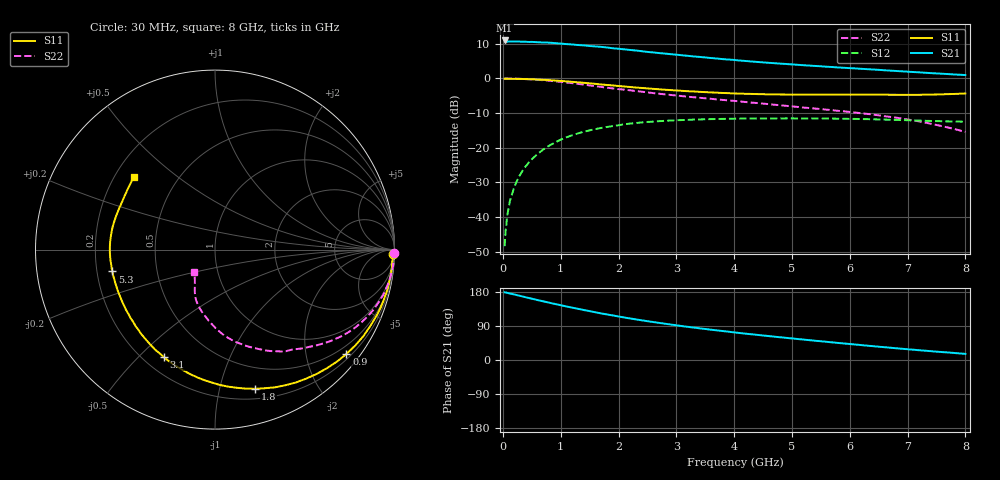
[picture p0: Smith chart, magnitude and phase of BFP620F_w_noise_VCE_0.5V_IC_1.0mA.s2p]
! Infineon Technologies  Discrete & RF Semiconductors
! BFP620F
! VCE =  0.5 V,  IC =  1.0 mA
! Common Emitter S-Parameters:  Dec 2014
# GHz  S  MA  R  50
!  f  S11  S21  S12  S22
! GHz  MAG  ANG  MAG  ANG  MAG  ANG  MAG  ANG
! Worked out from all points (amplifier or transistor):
!   95 points, 30 MHz to 8 GHz, reference 50 ohm
!   highest |S21| = 11.0 dB at 30 MHz (marker M1)
!   |S21| within 3 dB of that: start of sweep to 2.349 GHz
!   unconditionally stable (mu >= 1): 6.944 GHz to end of sweep
!   at 300 MHz: K = 0.01, MSG = 19.2 dB, |S12| = -27.7 dB
!   at 3.3 GHz: K = 0.48, MSG = 9.1 dB, |S12| = -11.9 dB
!   at 8 GHz: K = 1.18, MAG = 4.2 dB, |S12| = -12.5 dB
!   lowest NFmin = 0.63 dB at 450 MHz
!   S11 on the Smith chart (normalised r, x): 30 MHz: 32, -75; 900 MHz: 0.31, -2.83; 1.8 GHz: 0.29, -1.29; 3.1 GHz: 0.28, -0.60; 5.3 GHz: 0.26, -0.10; 8 GHz: 0.28, +0.36
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0.03  0.9905 -1.3  3.54 178.7  0.0038 93.7  0.9992 -1.0
0.04  0.9914 -1.7  3.365 178.3  0.0052 85.0  0.9992 -1.3
0.06  0.9892 -2.6  3.409 177.9  0.0075 82.5  1 -1.8
0.07  0.9908 -3.1  3.397 177.4  0.01 88.7  0.9982 -2.1
0.12  0.9896 -5.2  3.435 175.6  0.0169 83.8  0.9977 -3.7
0.25  0.9868 -10.8  3.424 170.9  0.0341 83.9  0.992 -7.6
0.35  0.9829 -15.1  3.399 167.3  0.048 81.1  0.9849 -10.6
0.5  0.9743 -21.5  3.376 161.8  0.0682 76.6  0.9708 -15.0
0.9  0.9349 -38.5  3.242 147.9  0.1191 65.1  0.912 -26.3
1.2  0.8949 -50.7  3.1 138.1  0.1517 56.9  0.8566 -34.1
1.4  0.8666 -58.7  3.005 131.9  0.1704 51.7  0.8166 -38.9
1.8  0.8068 -74.0  2.801 120.2  0.1997 42.5  0.7374 -48.2
2.2  0.7539 -88.1  2.585 109.6  0.2236 34.4  0.6752 -57.2
2.7  0.6987 -103.8  2.33 98.0  0.2419 25.8  0.6028 -66.6
3.1  0.6635 -115.4  2.163 89.5  0.2513 20.1  0.5567 -73.0
3.5  0.6355 -126.1  2.014 81.8  0.258 14.9  0.5182 -78.7
4.1  0.6055 -140.9  1.815 71.2  0.2637 8.3  0.4667 -85.7
4.7  0.5891 -155.0  1.662 61.5  0.2654 2.6  0.418 -92.1
5.3  0.5846 -168.0  1.535 52.4  0.2652 -2.5  0.3749 -98.4
5.4  0.5849 -170.2  1.517 50.9  0.2647 -3.4  0.3683 -99.6
6.7  0.5824 163.5  1.299 32.4  0.2538 -12.7  0.2791 -113.3
8  0.6079 138.1  1.121 16.1  0.2377 -18.0  0.1694 -132.4
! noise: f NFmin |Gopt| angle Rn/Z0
0.45  0.63  0.7  11  0.33
0.9  0.82  0.71  21  0.28
1.5  0.98  0.64  33  0.28
1.8  1.05  0.63  37  0.28
1.9  1.07  0.6  46  0.29
2.4  1.19  0.58  59  0.27
3.5  1.44  0.56  83  0.2
5.5  1.85  0.41  143  0.17
6  1.94  0.29  161  0.33
